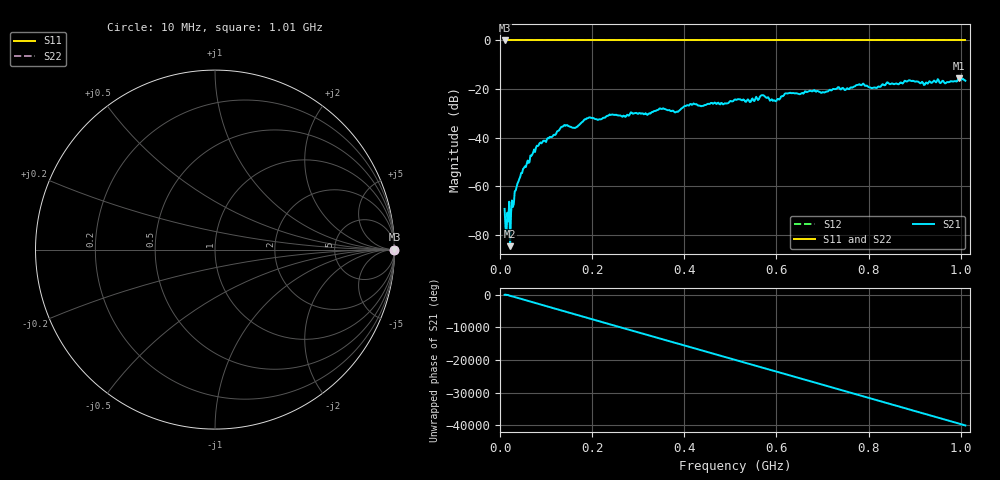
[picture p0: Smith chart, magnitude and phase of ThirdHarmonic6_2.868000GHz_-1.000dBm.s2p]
! 8/17/2025 7:49:53 AM
! C:\ANRITSUVNA\TEMP\TEMP.S2P
! CHANNEL.1
! TR.MEASUREMENT
! RAW.DATA
! RF.CORRECTION.OFF
! AVERAGING.OFF
! IF.BANDWIDTH: 5KHZ
! SWEEPTYPE:  FREQ.SWEEP(Linear)
! Reference Plane Port Info
! PORT:  PORT1  PORT2
! DISTANCE:  0  m  0  m
! TIME:  0  s  0  s
! PHASE.OFFSET:  0  deg.  0  deg.
! LOSS:  0  dB  0  dB
! REF.LOSS:  0  dB  0  dB
! REF.FREQ:  0  Hz  0  Hz
! Power Info
! POWER:  -20  dBm  -20  dBm
! EFF.POWER:  -20  dBm  -20  dBm
! SOURCE.ATTEN:  0  dB  0  dB
! TEST.ATTEN:  0  dB  0  dB
# GHZ S RI R 50.0
! FREQ.GHZ  S11RE  S11IM  S21RE  S21IM  S12RE  S12IM  S22RE  S22IM
!; PortSelection: Port_12
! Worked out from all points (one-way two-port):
!   501 points, 10 MHz to 1.01 GHz, reference 50 ohm
!   highest |S21| = -15.62 dB at 996 MHz (marker M1); lowest = -84.7 dB at 22 MHz (marker M2)
!   lowest |S11| = 0.0 dB at 10 MHz (marker M3)
!   |S11| at or under -10 dB: nowhere
!   |S22| runs from 0.0 to 0.0 dB; largest |S21 - S12| = 1.2
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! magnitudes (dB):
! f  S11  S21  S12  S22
! 10 MHz  0.0  -69.4  0.0  0.0
! 18 MHz  0.0  -74.5  0.0  0.0
! 22 MHz  0.0  -84.7  0.0  0.0
! 26 MHz  0.0  -65.9  0.0  0.0
! 30 MHz  0.0  -67.3  0.0  0.0
! 42 MHz  0.0  -57.0  0.0  0.0
! 82 MHz  0.0  -43.5  0.0  0.0
! 136 MHz  0.0  -35.5  0.0  0.0
! 162 MHz  0.0  -36.0  0.0  0.0
! 178 MHz  0.0  -33.6  0.0  0.0
! 192 MHz  0.0  -31.9  0.0  0.0
! 344 MHz  0.0  -28.5  0.0  0.0
! 382 MHz  0.0  -29.5  0.0  0.0
! 416 MHz  0.0  -26.5  0.0  0.0
! 510 MHz  0.0  -24.3  0.0  0.0
! 570 MHz  0.0  -22.6  0.0  0.0
! 596 MHz  0.0  -24.7  0.0  0.0
! 622 MHz  0.0  -21.8  0.0  0.0
! 678 MHz  0.0  -21.0  0.0  0.0
! 844 MHz  0.0  -17.8  0.0  0.0
! 996 MHz  0.0  -15.6  0.0  0.0
! 1.01 GHz  0.0  -16.6  0.0  0.0
